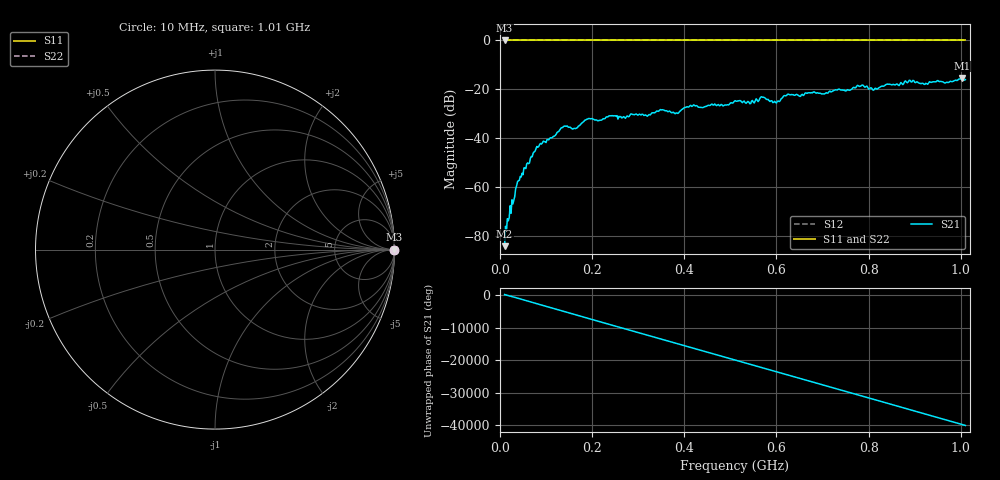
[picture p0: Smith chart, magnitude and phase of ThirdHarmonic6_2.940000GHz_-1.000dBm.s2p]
! 8/17/2025 8:14:17 AM
! C:\ANRITSUVNA\TEMP\TEMP.S2P
! CHANNEL.1
! TR.MEASUREMENT
! RAW.DATA
! RF.CORRECTION.OFF
! AVERAGING.OFF
! IF.BANDWIDTH: 5KHZ
! SWEEPTYPE:  FREQ.SWEEP(Linear)
! Reference Plane Port Info
! PORT:  PORT1  PORT2
! DISTANCE:  0  m  0  m
! TIME:  0  s  0  s
! PHASE.OFFSET:  0  deg.  0  deg.
! LOSS:  0  dB  0  dB
! REF.LOSS:  0  dB  0  dB
! REF.FREQ:  0  Hz  0  Hz
! Power Info
! POWER:  -20  dBm  -20  dBm
! EFF.POWER:  -20  dBm  -20  dBm
! SOURCE.ATTEN:  0  dB  0  dB
! TEST.ATTEN:  0  dB  0  dB
# GHZ S RI R 50.0
! FREQ.GHZ  S11RE  S11IM  S21RE  S21IM  S12RE  S12IM  S22RE  S22IM
!; PortSelection: Port_12
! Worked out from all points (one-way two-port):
!   501 points, 10 MHz to 1.01 GHz, reference 50 ohm
!   highest |S21| = -15.33 dB at 1.002 GHz (marker M1); lowest = -84.1 dB at 10 MHz (marker M2)
!   lowest |S11| = 0.0 dB at 10 MHz (marker M3)
!   |S11| at or under -10 dB: nowhere
!   |S22| runs from 0.0 to 0.0 dB; largest |S21 - S12| = 1.2
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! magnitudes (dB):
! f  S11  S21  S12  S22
! 10 MHz  0.0  -84.1  0.0  0.0
! 38 MHz  0.0  -57.8  0.0  0.0
! 76 MHz  0.0  -45.3  0.0  0.0
! 136 MHz  0.0  -35.6  0.0  0.0
! 162 MHz  0.0  -36.0  0.0  0.0
! 178 MHz  0.0  -33.7  0.0  0.0
! 192 MHz  0.0  -31.9  0.0  0.0
! 322 MHz  0.0  -30.5  0.0  0.0
! 344 MHz  0.0  -29.0  0.0  0.0
! 384 MHz  0.0  -29.7  0.0  0.0
! 416 MHz  0.0  -26.9  0.0  0.0
! 510 MHz  0.0  -24.6  0.0  0.0
! 546 MHz  0.0  -24.8  0.0  0.0
! 570 MHz  0.0  -23.2  0.0  0.0
! 596 MHz  0.0  -24.9  0.0  0.0
! 622 MHz  0.0  -22.5  0.0  0.0
! 678 MHz  0.0  -21.4  0.0  0.0
! 784 MHz  0.0  -18.5  0.0  0.0
! 814 MHz  0.0  -19.5  0.0  0.0
! 844 MHz  0.0  -17.9  0.0  0.0
! 1.002 GHz  0.0  -15.3  0.0  0.0
! 1.01 GHz  0.0  -16.0  0.0  0.0
